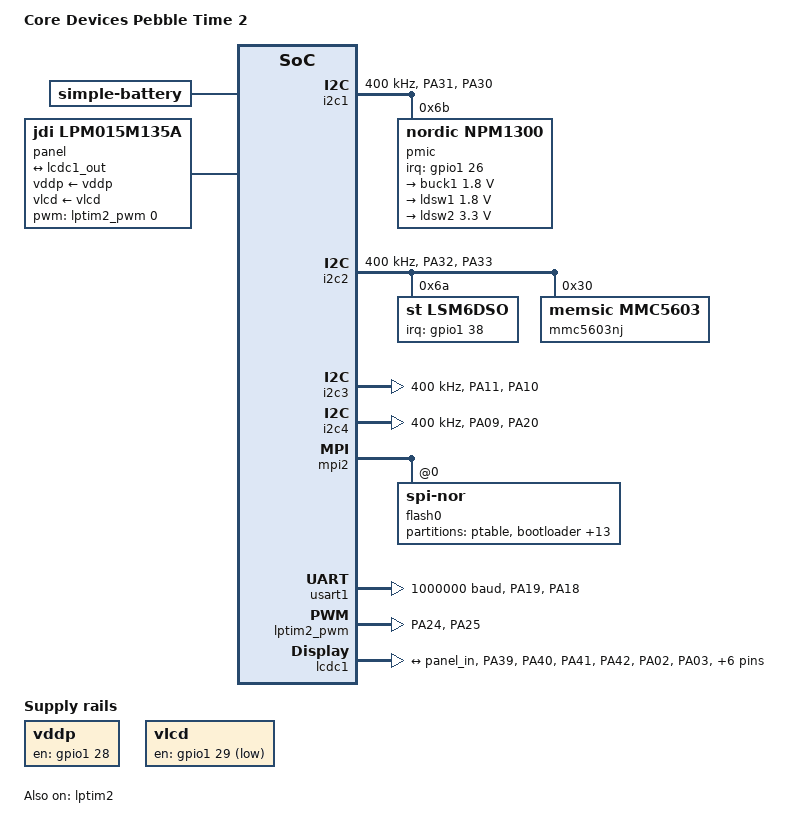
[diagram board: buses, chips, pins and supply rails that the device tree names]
// SPDX-FileCopyrightText: 2026 Core Devices LLC
// SPDX-License-Identifier: (GPL-2.0-only OR BSD-2-Clause)

#include "sf32lb/sf32lb52x/sf32lb52.dtsi"

#include <dt-bindings/gpio/gpio.h>

/ {
	model = "Core Devices Pebble Time 2";

	battery: battery {
		compatible = "simple-battery";
		constant-charge-current-max-microamp = <190000>;
		charge-term-current-microamp = <19000>;
		constant-charge-voltage-max-microvolt = <4350000>;
	};

	vddp: regulator-vddp {
		compatible = "regulator-fixed";
		regulator-name = "vddp";
		gpios = <&gpio1 28 GPIO_ACTIVE_HIGH>;
		enable-active-high;
	};

	vlcd: regulator-vlcd {
		compatible = "regulator-fixed";
		regulator-name = "vlcd";
		gpios = <&gpio1 29 GPIO_ACTIVE_LOW>;
	};

	panel: panel {
		compatible = "jdi,lpm015m135a";
		vddp-supply = <&vddp>;
		vlcd-supply = <&vlcd>;
		pwms = <&lptim2_pwm 0 16666666 0>;

		port {
			panel_in: endpoint {
				remote-endpoint = <&lcdc1_out>;
			};
		};
	};
};

&pinctrl {
	lcdc1_default: lcdc1-default-state {
		vck-pins {
			pins = "PA39";
			function = "lcdc1_jdi_vck";
			input-enable;
			drive-strength = <4>;
		};

		xrst-pins {
			pins = "PA40";
			function = "lcdc1_jdi_xrst";
			input-enable;
			drive-strength = <4>;
		};

		hck-pins {
			pins = "PA41";
			function = "lcdc1_jdi_hck";
			input-enable;
			drive-strength = <4>;
		};

		r2-pins {
			pins = "PA42";
			function = "lcdc1_jdi_r2";
			input-enable;
			drive-strength = <4>;
		};

		b2-pins {
			pins = "PA02";
			function = "lcdc1_jdi_b2";
			input-enable;
			drive-strength = <8>;
		};

		b1-pins {
			pins = "PA03";
			function = "lcdc1_jdi_b1";
			input-enable;
			drive-strength = <8>;
		};

		g1-pins {
			pins = "PA04";
			function = "lcdc1_jdi_g1";
			input-enable;
			drive-strength = <8>;
		};

		r1-pins {
			pins = "PA05";
			function = "lcdc1_jdi_r1";
			input-enable;
			drive-strength = <8>;
		};

		hst-pins {
			pins = "PA06";
			function = "lcdc1_jdi_hst";
			input-enable;
			drive-strength = <8>;
		};

		enb-pins {
			pins = "PA07";
			function = "lcdc1_jdi_enb";
			input-enable;
			drive-strength = <8>;
		};

		vst-pins {
			pins = "PA08";
			function = "lcdc1_jdi_vst";
			input-enable;
			drive-strength = <8>;
		};

		g2-pins {
			pins = "PA43";
			function = "lcdc1_jdi_g2";
			input-enable;
			drive-strength = <8>;
		};
	};

	lcdc1_sleep: lcdc1-sleep-state {
		discharge-pins {
			pins = "PA03", "PA39", "PA40", "PA41", "PA42";
			function = "gpio";
			output-low;
		};
	};

	lptim2_default: lptim2-default-state {
		out-pins {
			pins = "PA24";
			function = "pbr_lptim2_out";
			input-enable;
			drive-strength = <8>;
		};

		inv-out-pins {
			pins = "PA25";
			function = "pbr_lptim2_inv_out";
			input-enable;
			drive-strength = <8>;
		};
	};

	usart1_default: usart1-default-state {
		tx-pins {
			pins = "PA19";
			function = "usart1_txd";
			input-enable;
			drive-strength = <8>;
		};

		rx-pins {
			pins = "PA18";
			function = "usart1_rxd";
			input-enable;
			drive-strength = <8>;
			bias-pull-up;
		};
	};

	i2c1_default: i2c1-default-state {
		scl-pins {
			pins = "PA31";
			function = "i2c1_scl";
			input-enable;
			drive-strength = <8>;
		};

		sda-pins {
			pins = "PA30";
			function = "i2c1_sda";
			input-enable;
			drive-strength = <8>;
		};
	};

	i2c2_default: i2c2-default-state {
		scl-pins {
			pins = "PA32";
			function = "i2c2_scl";
			input-enable;
			drive-strength = <8>;
		};

		sda-pins {
			pins = "PA33";
			function = "i2c2_sda";
			input-enable;
			drive-strength = <8>;
		};
	};

	i2c3_default: i2c3-default-state {
		scl-pins {
			pins = "PA11";
			function = "i2c3_scl";
			input-enable;
			drive-strength = <8>;
		};

		sda-pins {
			pins = "PA10";
			function = "i2c3_sda";
			input-enable;
			drive-strength = <8>;
		};
	};

	i2c4_default: i2c4-default-state {
		scl-pins {
			pins = "PA09";
			function = "i2c4_scl";
			input-enable;
			drive-strength = <8>;
		};

		sda-pins {
			pins = "PA20";
			function = "i2c4_sda";
			input-enable;
			drive-strength = <8>;
		};
	};
};

&i2c1 {
	pinctrl-0 = <&i2c1_default>;
	pinctrl-names = "default";
	clock-frequency = <400000>;
	status = "okay";

	pmic: pmic@6b {
		compatible = "nordic,npm1300";
		reg = <0x6b>;
		interrupt-parent = <&gpio1>;
		interrupts = <26 IRQ_TYPE_EDGE_RISING>;
		gpio-controller;
		#gpio-cells = <2>;
		monitored-battery = <&battery>;
		nordic,reduced-charge-voltage-microvolt = <4000000>;
		nordic,thermistor-ohms = <10000>;
		nordic,thermistor-beta = <3380>;
		nordic,thermistor-hot-celsius = <45>;
		nordic,discharge-current-limit-microamp = <200000>;
		input-current-limit-microamp = <500000>;
		nordic,startup-input-current-limit-microamp = <500000>;

		regulators {
			buck1: BUCK1 {
				regulator-name = "npm1300_buck1";
				regulator-min-microvolt = <1800000>;
				regulator-max-microvolt = <1800000>;
			};

			ldsw1: LDSW1 {
				regulator-name = "npm1300_ldsw1";
				regulator-min-microvolt = <1800000>;
				regulator-max-microvolt = <1800000>;
				regulator-always-on;
				nordic,ldo-mode;
			};

			ldsw2: LDSW2 {
				regulator-name = "npm1300_ldsw2";
				regulator-min-microvolt = <3300000>;
				regulator-max-microvolt = <3300000>;
				nordic,ldo-mode;
			};
		};
	};
};

&i2c2 {
	pinctrl-0 = <&i2c2_default>;
	pinctrl-names = "default";
	clock-frequency = <400000>;
	dmas = <&dmac1 5 23 2>;
	dma-names = "rx";
	status = "okay";

	lsm6dso: imu@6a {
		compatible = "st,lsm6dso";
		reg = <0x6a>;
		interrupt-parent = <&gpio1>;
		interrupts = <38 IRQ_TYPE_EDGE_RISING>;
		mount-matrix = "-1", "0", "0",
			       "0", "1", "0",
			       "0", "0", "1";
	};

	mmc5603nj: magnetometer@30 {
		compatible = "memsic,mmc5603";
		reg = <0x30>;
		mount-matrix = "0", "1", "0",
			       "-1", "0", "0",
			       "0", "0", "1";
	};
};

&i2c3 {
	pinctrl-0 = <&i2c3_default>;
	pinctrl-names = "default";
	clock-frequency = <400000>;
	status = "okay";
};

&i2c4 {
	pinctrl-0 = <&i2c4_default>;
	pinctrl-names = "default";
	clock-frequency = <400000>;
	status = "okay";
};

&mpi2 {
	status = "okay";

	flash0: flash@0 {
		compatible = "jedec,spi-nor";
		reg = <0>;
		spi-rx-bus-width = <4>;
		spi-tx-bus-width = <4>;

		partitions {
			compatible = "fixed-partitions";
			#address-cells = <1>;
			#size-cells = <1>;

			partition@0 {
				label = "ptable";
				reg = <0x0 0x10000>;
			};

			partition@10000 {
				label = "bootloader";
				reg = <0x10000 0x10000>;
			};

			partition@20000 {
				label = "firmware-slot-0";
				reg = <0x20000 0x300000>;
			};

			partition@320000 {
				label = "firmware-slot-1";
				reg = <0x320000 0x300000>;
			};

			partition@620000 {
				label = "system-resources-bank-0";
				reg = <0x620000 0x200000>;
			};

			partition@820000 {
				label = "system-resources-bank-1";
				reg = <0x820000 0x200000>;
			};

			partition@a20000 {
				label = "safe-firmware";
				reg = <0xa20000 0x90000>;
			};

			partition@ab0000 {
				label = "filesystem";
				reg = <0xab0000 0x1490000>;
			};

			partition@1f40000 {
				label = "cd";
				reg = <0x1f40000 0x80000>;
			};

			partition@1fcf000 {
				label = "debug-db";
				reg = <0x1fcf000 0x20000>;
			};

			partition@1ffb000 {
				label = "mfg-results";
				reg = <0x1ffb000 0x1000>;
			};

			partition@1ffc000 {
				label = "mfg-battery-state";
				reg = <0x1ffc000 0x1000>;
			};

			partition@1ffd000 {
				label = "tzinfo";
				reg = <0x1ffd000 0x1000>;
			};

			partition@1ffe000 {
				label = "mfg-info";
				reg = <0x1ffe000 0x1000>;
			};

			partition@1fff000 {
				label = "shared-prf-storage";
				reg = <0x1fff000 0x1000>;
			};
		};

		otp {
			compatible = "user-otp";

			nvmem-layout {
				compatible = "fixed-layout";
				#address-cells = <1>;
				#size-cells = <1>;

				hw-version@0 {
					reg = <0x0 0x20>;
				};

				serial-number@20 {
					reg = <0x20 0x20>;
				};

				pcba-serial-number@40 {
					reg = <0x40 0x20>;
				};

				soc-config-user@800 {
					reg = <0x800 0x100>;
				};

				soc-config-cust@1000 {
					reg = <0x1000 0x100>;
				};
			};
		};
	};
};

&usart1 {
	pinctrl-0 = <&usart1_default>;
	pinctrl-names = "default";
	current-speed = <1000000>;
	dmas = <&dmac1 0 5 1>;
	dma-names = "rx";
	status = "okay";
};

&lptim2 {
	status = "okay";
};

&lptim2_pwm {
	pinctrl-0 = <&lptim2_default>;
	pinctrl-names = "default";
	status = "okay";
};

&lcdc1 {
	pinctrl-0 = <&lcdc1_default>;
	pinctrl-1 = <&lcdc1_sleep>;
	pinctrl-names = "default", "sleep";
	status = "okay";

	port {
		lcdc1_out: endpoint {
			remote-endpoint = <&panel_in>;
		};
	};
};
